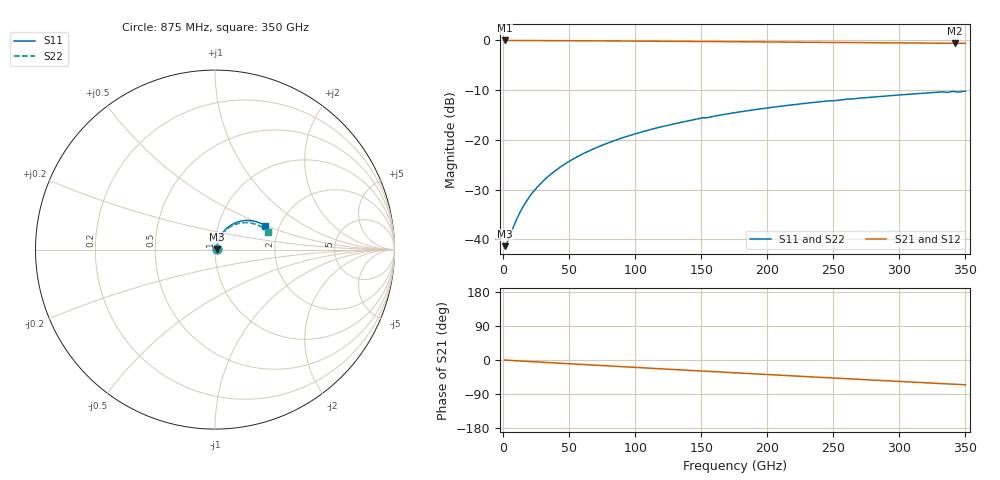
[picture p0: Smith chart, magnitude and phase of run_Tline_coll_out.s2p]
#  Hz  S  RI  R  50
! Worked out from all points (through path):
!   400 points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, 875 MHz to 350 GHz, reference 50 ohm
!   highest |S21| = -0.08 dB at 875 MHz (marker M1); lowest = -0.7 dB at 342.1 GHz (marker M2)
!   group delay of S21, straight-line fit = 519 fs
!   lowest |S11| = -41.3 dB at 875 MHz (marker M3), VSWR 1.02, Z = 50.9 + j0.118 ohm
!   |S11| at or under -10 dB: start of sweep to end of sweep
!   |S22| runs from -41.3 to -10.2 dB; largest |S21 - S12| = 0.00098
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8.75e8  0.00849 0.00116  0.9914 -0.00325  0.9914 -0.00327  0.00849 0.00115
1.75e9  0.00853 0.0023  0.9913 -0.00648  0.9913 -0.00651  0.00852 0.00229
3.5e9  0.00865 0.00457  0.991 -0.0128  0.9909 -0.0128  0.00864 0.00458
8.75e9  0.00937 0.0112  0.9898 -0.0313  0.9898 -0.0313  0.00938 0.0112
1.3125e10  0.0102 0.0165  0.9887 -0.0464  0.9887 -0.0464  0.0103 0.0165
1.8375e10  0.0114 0.0226  0.987 -0.0644  0.987 -0.0644  0.0115 0.0226
2.3625e10  0.0127 0.0286  0.9851 -0.0822  0.9851 -0.0822  0.0129 0.0285
3.0625e10  0.0147 0.0364  0.982 -0.1058  0.982 -0.1058  0.0151 0.0363
3.85e10  0.0173 0.0449  0.9779 -0.132  0.9779 -0.132  0.0179 0.0447
4.8125e10  0.0211 0.055  0.9718 -0.1639  0.9718 -0.1639  0.0219 0.0548
5.95e10  0.0262 0.0666  0.9632 -0.201  0.9632 -0.201  0.0275 0.0662
7.0875e10  0.0321 0.0776  0.9531 -0.2375  0.9531 -0.2375  0.0339 0.077
8.4875e10  0.0404 0.0904  0.9387 -0.2814  0.9388 -0.2815  0.0429 0.0894
1.1725e11  0.0631 0.1164  0.8977 -0.3789  0.8977 -0.3789  0.0676 0.1144
1.505e11  0.0925 0.1376  0.8435 -0.4721  0.8436 -0.4723  0.0994 0.1339
1.54875e11  0.0945 0.1376  0.8374 -0.4814  0.8377 -0.4816  0.1021 0.1334
1.75875e11  0.1138 0.1493  0.7992 -0.5371  0.7993 -0.5374  0.1228 0.1432
2.33625e11  0.1708 0.1626  0.6769 -0.6675  0.6769 -0.668  0.1842 0.1499
2.9225e11  0.2283 0.1563  0.5357 -0.7709  0.5356 -0.7716  0.2447 0.1342
3.31625e11  0.2675 0.1403  0.43 -0.8236  0.4297 -0.824  0.2842 0.1114
3.42125e11  0.274 0.1317  0.4043 -0.8318  0.404 -0.8323  0.2911 0.1006
3.5e11  0.2776 0.1316  0.3857 -0.8443  0.3854 -0.845  0.2945 0.0984
